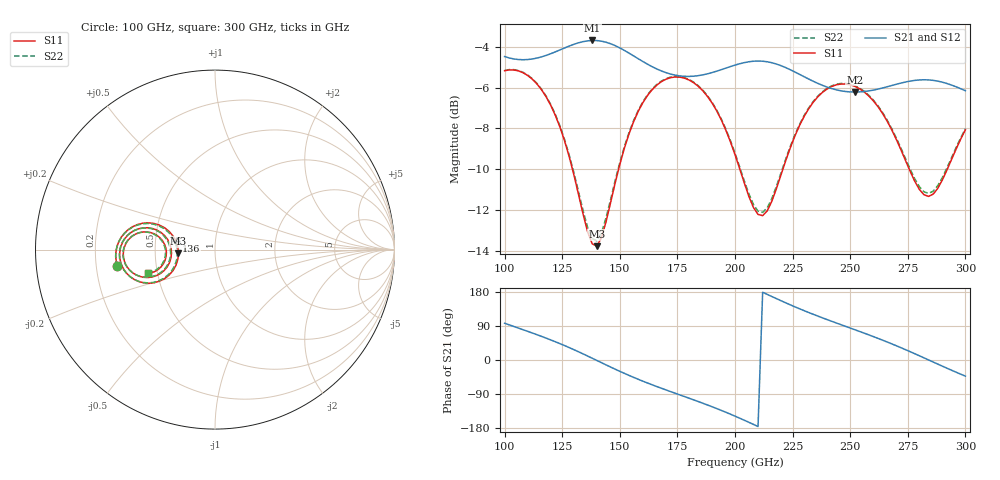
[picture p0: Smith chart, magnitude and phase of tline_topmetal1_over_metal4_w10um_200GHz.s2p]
#  GHZ S DB R 50
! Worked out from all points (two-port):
!   101 points, 100 GHz to 300 GHz, reference 50 ohm
!   highest |S21| = -3.68 dB at 138 GHz (marker M1); lowest = -6.2 dB at 252 GHz (marker M2)
!   |S21| within 3 dB of the highest: start of sweep to end of sweep
!   lowest |S11| = -13.8 dB at 140 GHz (marker M3), VSWR 1.51, Z = 33.1 - j1.44 ohm
!   |S11| at or under -10 dB: 129.4 GHz to 149.5 GHz (20.06 GHz wide, 14.4 % of centre); 202.1 GHz to 220.8 GHz (18.69 GHz wide, 8.84 % of centre); 275.6 GHz to 292.2 GHz (16.53 GHz wide, 5.82 % of centre)
!   |S22| runs from -13.5 to -5.1 dB; largest |S21 - S12| = 7.5e-14
!   S11 on the Smith chart (normalised r, x): 100 GHz: 0.29, -0.08; 136 GHz: 0.64, +0.06; 300 GHz: 0.44, -0.14
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100  -5.17 -170.5  -4.47 97.1  -4.47 97.1  -5.15 -170.3
110  -5.40 175.0  -4.62 75.6  -4.62 75.6  -5.38 175.4
120  -6.86 162.1  -4.33 53.0  -4.33 53.0  -6.82 162.7
128  -9.38 156.2  -3.96 32.9  -3.96 32.9  -9.29 157.1
134  -12.18 162.0  -3.74 16.3  -3.74 16.3  -12.00 162.9
136  -13.06 168.0  -3.70 10.5  -3.70 10.5  -12.84 168.7
138  -13.66 176.3  -3.68 4.7  -3.68 4.7  -13.41 176.7
140  -13.78 -174.1  -3.69 -1.1  -3.69 -1.1  -13.52 -174.2
146  -11.64 -153.4  -3.84 -18.6  -3.84 -18.6  -11.48 -154.2
154  -8.27 -151.4  -4.31 -40.6  -4.31 -40.6  -8.20 -152.0
168  -5.71 -167.2  -5.18 -74.5  -5.18 -74.5  -5.68 -167.4
176  -5.48 -177.4  -5.42 -92.0  -5.42 -92.0  -5.46 -177.5
186  -6.15 170.6  -5.37 -114.0  -5.37 -114.0  -6.12 170.8
200  -9.29 161.4  -4.89 -148.1  -4.89 -148.1  -9.21 161.8
212  -12.28 -175.3  -4.70 178.8  -4.70 178.8  -12.12 -175.4
224  -8.95 -156.0  -5.12 145.6  -5.12 145.6  -8.88 -156.5
234  -6.71 -162.2  -5.69 120.5  -5.69 120.5  -6.67 -162.5
252  -5.94 178.4  -6.22 79.9  -6.22 79.9  -5.90 178.4
268  -8.06 165.5  -5.90 42.7  -5.90 42.7  -8.00 165.7
276  -10.10 168.0  -5.68 22.0  -5.68 22.0  -9.99 168.2
284  -11.34 -176.9  -5.62 0.2  -5.62 0.2  -11.19 -177.1
300  -8.07 -160.4  -6.15 -42.6  -6.15 -42.6  -8.01 -161.0
